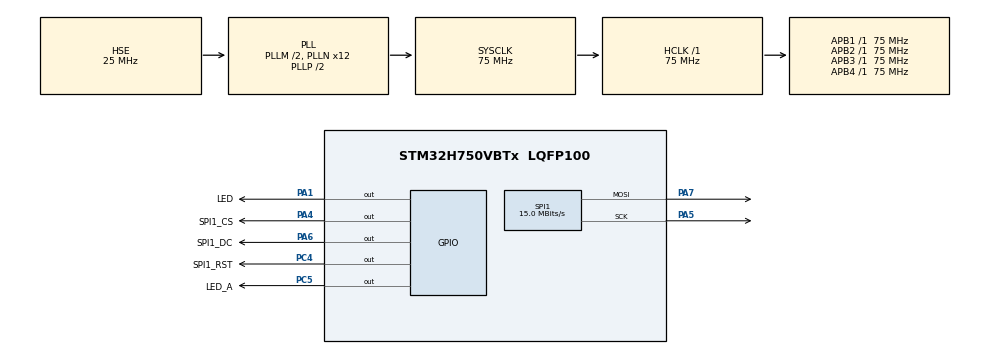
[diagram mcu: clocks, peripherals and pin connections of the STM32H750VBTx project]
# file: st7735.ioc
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Mcu.Family=STM32H7
Mcu.Name=STM32H750VBTx
Mcu.Package=LQFP100
NVIC.PriorityGroup=NVIC_PRIORITYGROUP_4
NVIC.TIM1_UP_IRQn=true\:0\:0\:false\:false\:true\:true\:true
PA1.GPIO_Label=LED
PA1.Signal=GPIO_Output
PA13\ (JTMS/SWDIO).Mode=Serial_Wire
PA13\ (JTMS/SWDIO).Signal=DEBUG_JTMS-SWDIO
PA14\ (JTCK/SWCLK).Mode=Serial_Wire
PA14\ (JTCK/SWCLK).Signal=DEBUG_JTCK-SWCLK
PA4.GPIO_Label=SPI1_CS
PA4.Signal=GPIO_Output
PA5.Mode=TX_Only_Simplex_Unidirect_Master
PA5.Signal=SPI1_SCK
PA6.GPIO_Label=SPI1_DC
PA6.Signal=GPIO_Output
PA7.Mode=TX_Only_Simplex_Unidirect_Master
PA7.Signal=SPI1_MOSI
PC4.GPIO_Label=SPI1_RST
PC4.Signal=GPIO_Output
PC5.GPIO_Label=LED_A
PC5.PinState=GPIO_PIN_RESET
PC5.Signal=GPIO_Output
PH0-OSC_IN\ (PH0).Mode=HSE-External-Oscillator
PH0-OSC_IN\ (PH0).Signal=RCC_OSC_IN
PH1-OSC_OUT\ (PH1).Mode=HSE-External-Oscillator
PH1-OSC_OUT\ (PH1).Signal=RCC_OSC_OUT
ProjectManager.HeapSize=0x200
ProjectManager.StackSize=0x400
ProjectManager.TargetToolchain=MDK-ARM V5.27
RCC.ADCFreq_Value=50390625
RCC.APB1Freq_Value=75000000
RCC.APB2Freq_Value=75000000
RCC.APB3Freq_Value=75000000
RCC.APB4Freq_Value=75000000
RCC.CortexFreq_Value=75000000
RCC.DIVM1=2
RCC.DIVN1=12
RCC.DIVQ1=5
RCC.HCLKFreq_Value=75000000
RCC.PLLSourceVirtual=RCC_PLLSOURCE_HSE
RCC.SYSCLKFreq_VALUE=75000000
RCC.SYSCLKSource=RCC_SYSCLKSOURCE_PLLCLK
RCC.USBFreq_Value=30000000
SPI1.BaudRatePrescaler=SPI_BAUDRATEPRESCALER_2
SPI1.CalculateBaudRate=15.0 MBits/s
SPI1.DataSize=SPI_DATASIZE_8BIT
SPI1.Direction=SPI_DIRECTION_2LINES_TXONLY
SPI1.Mode=SPI_MODE_MASTER
SPI1.NSSPMode=SPI_NSS_PULSE_ENABLE
SPI1.VirtualType=VM_MASTER
TIM1.AutoReloadPreload=TIM_AUTORELOAD_PRELOAD_ENABLE
TIM1.Period=10000 - 1
TIM1.Prescaler=7500 - 1
VP_TIM1_VS_ClockSourceINT.Mode=Internal
board=custom

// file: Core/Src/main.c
/* USER CODE BEGIN Header */
/**
  ******************************************************************************
  * @file           : main.c
  * @brief          : Main program body
  ******************************************************************************
  * @attention
  *
  * <h2><center>&copy; Copyright (c) 2022 STMicroelectronics.
  * All rights reserved.</center></h2>
  *
  * This software component is licensed by ST under BSD 3-Clause license,
  * the "License"; You may not use this file except in compliance with the
  * License. You may obtain a copy of the License at:
  *                        opensource.org/licenses/BSD-3-Clause
  *
  ******************************************************************************
  */
/* USER CODE END Header */
#include "main.h"
#include "spi.h"
#include "tim.h"
#include "gpio.h"

/* USER CODE BEGIN Includes */

#include "st7735.h"
#include "fonts.h"

/* USER CODE END Includes */

void SystemClock_Config(void);

/* USER CODE BEGIN 0 */

uint16_t hour=0;
uint8_t miniute=0, second=0;

char time[9] = "000:00:00";

void timer() {
  second++;

  if(second == 60) {
    second = 0;

    miniute++;
    if(miniute == 60) {
      miniute = 0;

      hour++;

      time[0] = hour / 100 + '0';
      time[1] = hour / 10 % 10 + '0';
      time[2] = hour % 10 + '0';
    }

    time[4] = miniute / 10 + '0';
    time[5] = miniute % 10 + '0';
  }

  time[7] = second / 10 + '0';
  time[8] = second % 10 + '0';
}

/* USER CODE END 0 */

int main(void)
{

  /* MCU Configuration--------------------------------------------------------*/

  /* Reset of all peripherals, Initializes the Flash interface and the Systick. */
  HAL_Init();

  /* Configure the system clock */
  SystemClock_Config();

  /* Initialize all configured peripherals */
  MX_GPIO_Init();
  MX_SPI1_Init();
  MX_TIM1_Init();
  /* USER CODE BEGIN 2 */

  HAL_GPIO_WritePin(LED_A_GPIO_Port, LED_A_Pin, GPIO_PIN_SET);

  ST7735_Init();

  ST7735_FillScreen(ST7735_YELLOW);

  HAL_TIM_Base_Start_IT(&htim1);

  /* USER CODE END 2 */

  /* Infinite loop */
  while (1)
  {

    /* USER CODE BEGIN 3 */

    HAL_Delay(100);
    HAL_GPIO_TogglePin(LED_GPIO_Port, LED_Pin);

//    ST7735_FillScreen(ST7735_BLACK);

//    for(int x = 0; x < ST7735_WIDTH; x++) {
//        ST7735_DrawPixel(x, 0, ST7735_RED);
//        ST7735_DrawPixel(x, ST7735_HEIGHT-1, ST7735_RED);
//    }

//    for(int y = 0; y < ST7735_HEIGHT; y++) {
//        ST7735_DrawPixel(0, y, ST7735_RED);
//        ST7735_DrawPixel(ST7735_WIDTH-1, y, ST7735_RED);
//    }

//    HAL_Delay(3000);

//    // Check fonts
//    ST7735_FillScreen(ST7735_BLACK);
//    ST7735_WriteString(0, 0, "Font_7x10, red on black, lorem ipsum dolor sit amet", Font_7x10, ST7735_RED, ST7735_BLACK);
//    ST7735_WriteString(0, 3*10, "Font_11x18, green, lorem ipsum", Font_11x18, ST7735_GREEN, ST7735_BLACK);
//    ST7735_WriteString(0, 3*10+3*18, "Font_16x26", Font_16x26, ST7735_BLUE, ST7735_BLACK);
//    HAL_Delay(2000);

//    // Check colors
//    ST7735_FillScreen(ST7735_BLACK);
//    ST7735_WriteString(0, 0, "BLACK", Font_11x18, ST7735_WHITE, ST7735_BLACK);
//    HAL_Delay(500);

//    ST7735_FillScreen(ST7735_BLUE);
//    ST7735_WriteString(0, 0, "BLUE", Font_11x18, ST7735_BLACK, ST7735_BLUE);
//    HAL_Delay(500);

//    ST7735_FillScreen(ST7735_RED);
//    ST7735_WriteString(0, 0, "RED", Font_11x18, ST7735_BLACK, ST7735_RED);
//    HAL_Delay(500);

//    ST7735_FillScreen(ST7735_GREEN);
//    ST7735_WriteString(0, 0, "GREEN", Font_11x18, ST7735_BLACK, ST7735_GREEN);
//    HAL_Delay(500);

//    ST7735_FillScreen(ST7735_CYAN);
//    ST7735_WriteString(0, 0, "CYAN", Font_11x18, ST7735_BLACK, ST7735_CYAN);
//    HAL_Delay(500);

//    ST7735_FillScreen(ST7735_MAGENTA);
//    ST7735_WriteString(0, 0, "MAGENTA", Font_11x18, ST7735_BLACK, ST7735_MAGENTA);
//    HAL_Delay(500);

//    ST7735_FillScreen(ST7735_YELLOW);
//    ST7735_WriteString(0, 0, "YELLOW", Font_11x18, ST7735_BLACK, ST7735_YELLOW);
//    HAL_Delay(500);

//    ST7735_FillScreen(ST7735_WHITE);
//    ST7735_WriteString(0, 0, "WHITE", Font_11x18, ST7735_BLACK, ST7735_WHITE);
//    HAL_Delay(500);
  }
  /* USER CODE END 3 */
}

void SystemClock_Config(void)
{
  RCC_OscInitTypeDef RCC_OscInitStruct = {0};
  RCC_ClkInitTypeDef RCC_ClkInitStruct = {0};
  RCC_PeriphCLKInitTypeDef PeriphClkInitStruct = {0};

  /** Supply configuration update enable
  */
  HAL_PWREx_ConfigSupply(PWR_LDO_SUPPLY);
  /** Configure the main internal regulator output voltage
  */
  __HAL_PWR_VOLTAGESCALING_CONFIG(PWR_REGULATOR_VOLTAGE_SCALE3);

  while(!__HAL_PWR_GET_FLAG(PWR_FLAG_VOSRDY)) {}
  /** Initializes the RCC Oscillators according to the specified parameters
  * in the RCC_OscInitTypeDef structure.
  */
  RCC_OscInitStruct.OscillatorType = RCC_OSCILLATORTYPE_HSE;
  RCC_OscInitStruct.HSEState = RCC_HSE_ON;
  RCC_OscInitStruct.PLL.PLLState = RCC_PLL_ON;
  RCC_OscInitStruct.PLL.PLLSource = RCC_PLLSOURCE_HSE;
  RCC_OscInitStruct.PLL.PLLM = 2;
  RCC_OscInitStruct.PLL.PLLN = 12;
  RCC_OscInitStruct.PLL.PLLP = 2;
  RCC_OscInitStruct.PLL.PLLQ = 5;
  RCC_OscInitStruct.PLL.PLLR = 2;
  RCC_OscInitStruct.PLL.PLLRGE = RCC_PLL1VCIRANGE_3;
  RCC_OscInitStruct.PLL.PLLVCOSEL = RCC_PLL1VCOMEDIUM;
  RCC_OscInitStruct.PLL.PLLFRACN = 0;
  if (HAL_RCC_OscConfig(&RCC_OscInitStruct) != HAL_OK)
  {
    Error_Handler();
  }
  /** Initializes the CPU, AHB and APB buses clocks
  */
  RCC_ClkInitStruct.ClockType = RCC_CLOCKTYPE_HCLK|RCC_CLOCKTYPE_SYSCLK
                              |RCC_CLOCKTYPE_PCLK1|RCC_CLOCKTYPE_PCLK2
                              |RCC_CLOCKTYPE_D3PCLK1|RCC_CLOCKTYPE_D1PCLK1;
  RCC_ClkInitStruct.SYSCLKSource = RCC_SYSCLKSOURCE_PLLCLK;
  RCC_ClkInitStruct.SYSCLKDivider = RCC_SYSCLK_DIV1;
  RCC_ClkInitStruct.AHBCLKDivider = RCC_HCLK_DIV1;
  RCC_ClkInitStruct.APB3CLKDivider = RCC_APB3_DIV1;
  RCC_ClkInitStruct.APB1CLKDivider = RCC_APB1_DIV1;
  RCC_ClkInitStruct.APB2CLKDivider = RCC_APB2_DIV1;
  RCC_ClkInitStruct.APB4CLKDivider = RCC_APB4_DIV1;

  if (HAL_RCC_ClockConfig(&RCC_ClkInitStruct, FLASH_LATENCY_1) != HAL_OK)
  {
    Error_Handler();
  }
  PeriphClkInitStruct.PeriphClockSelection = RCC_PERIPHCLK_SPI1;
  PeriphClkInitStruct.Spi123ClockSelection = RCC_SPI123CLKSOURCE_PLL;
  if (HAL_RCCEx_PeriphCLKConfig(&PeriphClkInitStruct) != HAL_OK)
  {
    Error_Handler();
  }
}

/* USER CODE BEGIN 4 */

void HAL_TIM_PeriodElapsedCallback(TIM_HandleTypeDef* htim) {
  timer();

  ST7735_WriteString(8, 27, time, Font_16x26, ST7735_MAGENTA, ST7735_YELLOW);
}

/* USER CODE END 4 */

void Error_Handler(void)
{
}

/************************ (C) COPYRIGHT STMicroelectronics *****END OF FILE****/
